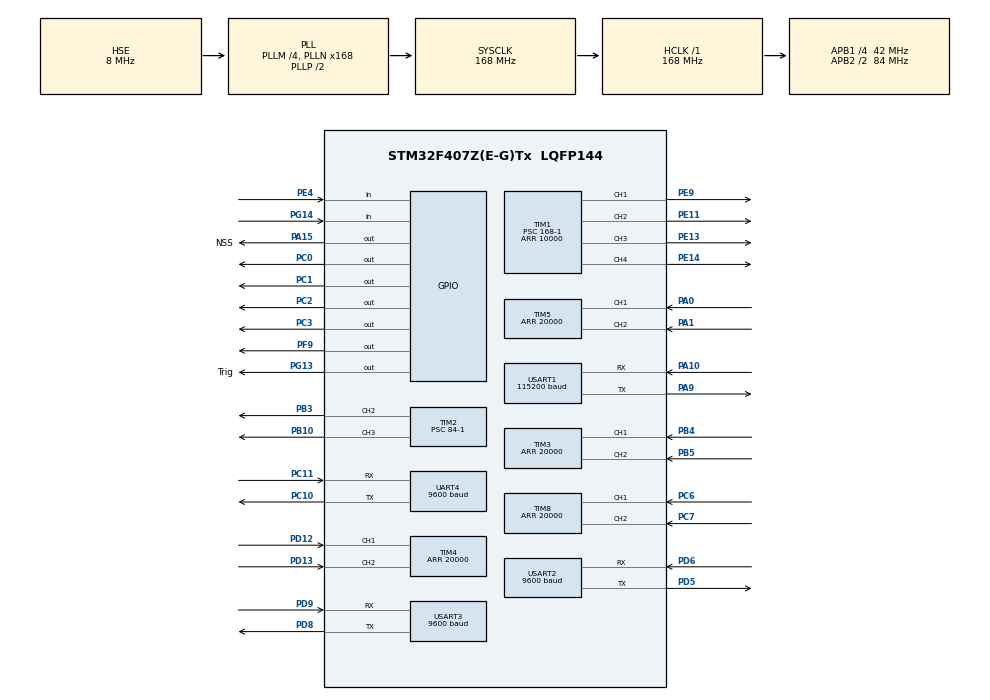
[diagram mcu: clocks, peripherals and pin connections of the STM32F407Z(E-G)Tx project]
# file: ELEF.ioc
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Dma.Request0=USART1_TX
Dma.USART1_TX.0.Direction=DMA_MEMORY_TO_PERIPH
Dma.USART1_TX.0.FIFOMode=DMA_FIFOMODE_DISABLE
Dma.USART1_TX.0.Instance=DMA2_Stream7
Dma.USART1_TX.0.MemDataAlignment=DMA_MDATAALIGN_BYTE
Dma.USART1_TX.0.MemInc=DMA_MINC_ENABLE
Dma.USART1_TX.0.Mode=DMA_NORMAL
Dma.USART1_TX.0.PeriphDataAlignment=DMA_PDATAALIGN_BYTE
Dma.USART1_TX.0.PeriphInc=DMA_PINC_DISABLE
Dma.USART1_TX.0.Priority=DMA_PRIORITY_LOW
FREERTOS.Tasks01=defaultTask,0,128,StartDefaultTask,Default,NULL,Dynamic,NULL,NULL;ServoTask,0,128,ServoCallback,As weak,NULL,Dynamic,NULL,NULL;BlueteethTask,0,128,BlueteethCallback,As weak,NULL,Dynamic,NULL,NULL;ChangSlowTask,0,128,ChangSlowCallback,As weak,NULL,Dynamic,NULL,NULL;IMUTask,0,128,IMUCallBack,As weak,NULL,Dynamic,NULL,NULL;OledTask,0,128,OledCallback,As weak,NULL,Dynamic,NULL,NULL;MotorTask,0,128,MotorCallback,As weak,NULL,Dynamic,NULL,NULL;ChassisTask,0,128,ChassisCallback,As weak,NULL,Dynamic,NULL,NULL;JY901Task,0,128,JY901Callback,As weak,NULL,Dynamic,NULL,NULL;DistanceTask,0,128,DistanceCallback,As weak,NULL,Dynamic,NULL,NULL;FinfLineTask,0,128,FinfLineCallback,As weak,NULL,Dynamic,NULL,NULL
Mcu.Family=STM32F4
Mcu.Name=STM32F407Z(E-G)Tx
Mcu.Package=LQFP144
NVIC.DMA2_Stream7_IRQn=true\:5\:0\:false\:false\:true\:true\:false\:true\:true
NVIC.PriorityGroup=NVIC_PRIORITYGROUP_4
NVIC.TIM1_TRG_COM_TIM11_IRQn=true\:5\:0\:false\:false\:true\:true\:true\:true\:true
NVIC.TIM3_IRQn=true\:5\:0\:false\:false\:true\:true\:true\:true\:true
NVIC.TIM4_IRQn=true\:5\:0\:false\:false\:true\:true\:true\:true\:true
NVIC.TIM5_IRQn=true\:5\:0\:false\:false\:true\:true\:true\:true\:true
NVIC.TIM7_IRQn=true\:15\:0\:false\:false\:true\:false\:false\:true\:true
NVIC.TIM8_BRK_TIM12_IRQn=true\:5\:0\:false\:false\:true\:true\:true\:true\:true
NVIC.TimeBase=TIM7_IRQn
NVIC.TimeBaseIP=TIM7
NVIC.UART4_IRQn=true\:5\:0\:false\:false\:true\:true\:true\:true\:true
NVIC.USART1_IRQn=true\:5\:0\:false\:false\:true\:true\:true\:true\:true
NVIC.USART2_IRQn=true\:5\:0\:false\:false\:true\:true\:true\:true\:true
NVIC.USART3_IRQn=true\:5\:0\:false\:false\:true\:true\:true\:true\:true
PA0-WKUP.Signal=S_TIM5_CH1
PA1.Signal=S_TIM5_CH2
PA10.Mode=Asynchronous
PA10.Signal=USART1_RX
PA13.Mode=Serial_Wire
PA13.Signal=SYS_JTMS-SWDIO
PA14.Mode=Serial_Wire
PA14.Signal=SYS_JTCK-SWCLK
PA15.GPIO_Label=NSS
PA15.Signal=GPIO_Output
PA9.Mode=Asynchronous
PA9.Signal=USART1_TX
PB10.Signal=S_TIM2_CH3
PB3.Signal=S_TIM2_CH2
PB4.Signal=S_TIM3_CH1
PB5.Signal=S_TIM3_CH2
PC0.Signal=GPIO_Output
PC1.Signal=GPIO_Output
PC10.Mode=Asynchronous
PC10.Signal=UART4_TX
PC11.Mode=Asynchronous
PC11.Signal=UART4_RX
PC2.Signal=GPIO_Output
PC3.Signal=GPIO_Output
PC6.Signal=S_TIM8_CH1
PC7.Signal=S_TIM8_CH2
PD12.Signal=S_TIM4_CH1
PD13.Signal=S_TIM4_CH2
PD5.Mode=Asynchronous
PD5.Signal=USART2_TX
PD6.Mode=Asynchronous
PD6.Signal=USART2_RX
PD8.Mode=Asynchronous
PD8.Signal=USART3_TX
PD9.Mode=Asynchronous
PD9.Signal=USART3_RX
PE11.Signal=S_TIM1_CH2
PE13.Signal=S_TIM1_CH3
PE14.Signal=S_TIM1_CH4
PE4.Signal=GPIO_Input
PE9.Signal=S_TIM1_CH1
PF9.Signal=GPIO_Output
PG13.GPIO_Label=Trig
PG13.GPIO_PuPd=GPIO_PULLUP
PG13.GPIO_Speed=GPIO_SPEED_FREQ_HIGH
PG13.Signal=GPIO_Output
PG14.GPIO_PuPd=GPIO_PULLUP
PG14.Signal=GPIO_Input
PH0-OSC_IN.Mode=HSE-External-Oscillator
PH0-OSC_IN.Signal=RCC_OSC_IN
PH1-OSC_OUT.Mode=HSE-External-Oscillator
PH1-OSC_OUT.Signal=RCC_OSC_OUT
ProjectManager.HeapSize=0x200
ProjectManager.StackSize=0x400
ProjectManager.TargetToolchain=MDK-ARM V5.32
RCC.48MHZClocksFreq_Value=84000000
RCC.AHBFreq_Value=168000000
RCC.APB1CLKDivider=RCC_HCLK_DIV4
RCC.APB1Freq_Value=42000000
RCC.APB1TimFreq_Value=84000000
RCC.APB2CLKDivider=RCC_HCLK_DIV2
RCC.APB2Freq_Value=84000000
RCC.APB2TimFreq_Value=168000000
RCC.CortexFreq_Value=168000000
RCC.HCLKFreq_Value=168000000
RCC.HSE_VALUE=8000000
RCC.HSI_VALUE=16000000
RCC.LSE_VALUE=32768
RCC.PLLM=4
RCC.PLLN=168
RCC.PLLSourceVirtual=RCC_PLLSOURCE_HSE
RCC.SYSCLKFreq_VALUE=168000000
RCC.SYSCLKSource=RCC_SYSCLKSOURCE_PLLCLK
RCC.VCOOutputFreq_Value=336000000
SH.S_TIM1_CH1.0=TIM1_CH1,PWM Generation1 CH1
SH.S_TIM1_CH2.0=TIM1_CH2,PWM Generation2 CH2
SH.S_TIM1_CH3.0=TIM1_CH3,PWM Generation3 CH3
SH.S_TIM1_CH4.0=TIM1_CH4,PWM Generation4 CH4
SH.S_TIM2_CH2.0=TIM2_CH2,PWM Generation2 CH2
SH.S_TIM2_CH3.0=TIM2_CH3,PWM Generation3 CH3
SH.S_TIM3_CH1.0=TIM3_CH1,Encoder_Interface
SH.S_TIM3_CH2.0=TIM3_CH2,Encoder_Interface
SH.S_TIM4_CH1.0=TIM4_CH1,Encoder_Interface
SH.S_TIM4_CH2.0=TIM4_CH2,Encoder_Interface
SH.S_TIM5_CH1.0=TIM5_CH1,Encoder_Interface
SH.S_TIM5_CH2.0=TIM5_CH2,Encoder_Interface
SH.S_TIM8_CH1.0=TIM8_CH1,Encoder_Interface
SH.S_TIM8_CH2.0=TIM8_CH2,Encoder_Interface
TIM1.AutoReloadPreload=TIM_AUTORELOAD_PRELOAD_ENABLE
TIM1.Channel-PWM\ Generation1\ CH1=TIM_CHANNEL_1
TIM1.Channel-PWM\ Generation2\ CH2=TIM_CHANNEL_2
TIM1.Channel-PWM\ Generation3\ CH3=TIM_CHANNEL_3
TIM1.Channel-PWM\ Generation4\ CH4=TIM_CHANNEL_4
TIM1.Period=10000
TIM1.Prescaler=168-1
TIM11.Period=10-1
TIM11.Prescaler=168-1
TIM12.Period=10000
TIM12.Prescaler=168-1
TIM2.AutoReloadPreload=TIM_AUTORELOAD_PRELOAD_ENABLE
TIM2.Channel-PWM\ Generation2\ CH2=TIM_CHANNEL_2
TIM2.Channel-PWM\ Generation3\ CH3=TIM_CHANNEL_3
TIM2.Period=20000-1
TIM2.Prescaler=84-1
TIM3.AutoReloadPreload=TIM_AUTORELOAD_PRELOAD_ENABLE
TIM3.Period=20000
TIM4.AutoReloadPreload=TIM_AUTORELOAD_PRELOAD_ENABLE
TIM4.Period=20000
TIM5.AutoReloadPreload=TIM_AUTORELOAD_PRELOAD_ENABLE
TIM5.Period=20000
TIM8.AutoReloadPreload=TIM_AUTORELOAD_PRELOAD_ENABLE
TIM8.Period=20000
UART4.BaudRate=9600
UART4.VirtualMode=Asynchronous
USART1.BaudRate=115200
USART1.VirtualMode=VM_ASYNC
USART2.BaudRate=9600
USART2.VirtualMode=VM_ASYNC
USART3.BaudRate=9600
USART3.VirtualMode=VM_ASYNC
VP_FREERTOS_VS_CMSIS_V1.Mode=CMSIS_V1
VP_SYS_VS_tim7.Mode=TIM7
VP_TIM11_VS_ClockSourceINT.Mode=Enable_Timer
VP_TIM12_VS_ClockSourceINT.Mode=Internal
VP_TIM1_VS_ClockSourceINT.Mode=Internal
VP_TIM2_VS_ClockSourceINT.Mode=Internal
board=custom

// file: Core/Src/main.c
/* USER CODE BEGIN Header */
/**
  ******************************************************************************
  * @file           : main.c
  * @brief          : Main program body
  ******************************************************************************
  * @attention
  *
  * Copyright (c) 2023 STMicroelectronics.
  * All rights reserved.
  *
  * This software is licensed under terms that can be found in the LICENSE file
  * in the root directory of this software component.
  * If no LICENSE file comes with this software, it is provided AS-IS.
  *
  ******************************************************************************
  */
/* USER CODE END Header */
#include "main.h"
#include "cmsis_os.h"
#include "dma.h"
#include "tim.h"
#include "usart.h"
#include "gpio.h"

/* USER CODE BEGIN Includes */
#include "servo.h"
#include "motor.h"
#include "oled.h"
//#include "bsp_imu.h"
/* USER CODE END Includes */

/* USER CODE BEGIN PV */
uint8_t USART1_RXbuff[1];
int Vision_Rxbuff[4];
uint8_t Vision_buff[1];
int yaw1=0;
int mpu_count=0;
/* USER CODE END PV */

void SystemClock_Config(void);
void MX_FREERTOS_Init(void);
/* USER CODE BEGIN PFP */

void MV_Uart2_IRQHandler()
{
  static unsigned char ucRxCnt = 0;
	Vision_Rxbuff[ucRxCnt++]=Vision_buff[0];	//将收到的数据存入缓冲区中
	if (Vision_Rxbuff[0]!=0xFF) //数据头不对，则重新开始寻找0xAA数据头
	{
		ucRxCnt=0;
		Enable=0;
		return;
	}
	if (ucRxCnt<4) {return;}//数据不满4个，则返回
	else if(Vision_Rxbuff[ucRxCnt-1]==0xEE)
	{
		Servo.RecX=Vision_Rxbuff[1];
		Servo.RecY=Vision_Rxbuff[2];
		Enable=1;
		ucRxCnt=0;//清空缓存区
	}
	else
	{
		ucRxCnt=0;//清空缓存区
	}
}

void ChangeAngle(float EndX,float EndY)
{
	if(EndX!=Servo.RecX)
	{
	if(EndX>Servo.TargetX)
		Servo.TargetX+=1;
	else if(EndX<Servo.TargetX)
		Servo.TargetX-=1;
	}
	if(EndY!=Servo.RecY)
	{
	if(EndY>Servo.TargetY)
		Servo.TargetY+=1;
	else if(EndY<Servo.TargetY)
		Servo.TargetY-=1;
	}
}

void HAL_UART_RxCpltCallback(UART_HandleTypeDef *huart)
{
	if(huart==&huart4)
	{
		JY901_UART();
		HAL_UART_Receive_IT(&huart4,buff_JY,1);
	}

	if(huart==&huart1)
	{
		if(USART1_RXbuff[0]=='F'&& Enable==1) //1
		{
			Enable=1;
			draw_round=1;
		}
		else if(USART1_RXbuff[0]=='G'&& Enable==1)//9
		{
			Servo.TargetX+=25;
		}
		else if(USART1_RXbuff[0]=='K'&& Enable==1)//9
		{
			Servo.TargetX-=25;

		}
		else if(USART1_RXbuff[0]=='H'&& Enable==1)//9
		{
			Servo.TargetY+=30;
		}
		else if(USART1_RXbuff[0]=='J'&& Enable==1)//9
		{
			Servo.TargetY-=30;
		}
		else if(USART1_RXbuff[0]=='I')
		{
			draw_round=0;
			Enable=0;
			Servo.angle1=Servo.media1;
			Servo.angle2=Servo.media2;
		}
		LIMIT(Servo.TargetX,32,85);
		LIMIT(Servo.TargetY,48,105);

		HAL_UART_Receive_IT(&huart1,USART1_RXbuff,1);

	}

	if(huart==&huart2)
	{
		MV_Uart2_IRQHandler();
		HAL_UART_Receive_IT(&huart2,Vision_buff,1);
	}
}
//缓慢改变舵机角度目标值
void ChangSlowCallback(void const * argument)
{
  /* USER CODE BEGIN ChangSlowCallback */
  /* Infinite loop */
  for(;;)
  {
		if(USART1_RXbuff[0]=='A') //1
		{
			motorStat=1;
		}
		else if(USART1_RXbuff[0]=='a')
		{
			motorStat=0;
		}
		else if(USART1_RXbuff[0]=='B')//2
		{
			motorStat=2;
		}
		else if(USART1_RXbuff[0]=='C')//3
		{
			motorStat=3;
		}
		else if(USART1_RXbuff[0]=='D')//4
		{
			motorStat=4;
		}
		else if(USART1_RXbuff[0]=='E')//5
		{
			motorStat=5;
		}
		else if(USART1_RXbuff[0]=='F')
		{
			motorStat=6;
		}
		else if(USART1_RXbuff[0]=='g')
		{
			motorStat=0;
		}
		else if(USART1_RXbuff[0]=='K')
		{
			motorStat=2;
		}
		else if(USART1_RXbuff[0]=='k')
		{
			motorStat=0;
		}

    osDelay(100);
  }
  /* USER CODE END ChangSlowCallback */
}
/* USER CODE END PFP */

int main(void)
{

  /* MCU Configuration--------------------------------------------------------*/

  /* Reset of all peripherals, Initializes the Flash interface and the Systick. */
  HAL_Init();

  /* Configure the system clock */
  SystemClock_Config();

  /* Initialize all configured peripherals */
  MX_GPIO_Init();
  MX_DMA_Init();
  MX_TIM2_Init();
  MX_USART1_UART_Init();
  MX_USART2_UART_Init();
  MX_USART3_UART_Init();
  MX_TIM1_Init();
  MX_TIM3_Init();
  MX_TIM4_Init();
  MX_TIM12_Init();
  MX_TIM5_Init();
  MX_TIM8_Init();
  MX_TIM11_Init();
  MX_UART4_Init();
  /* USER CODE BEGIN 2 */

	HAL_UART_Receive_IT(&huart1,USART1_RXbuff,1);//蓝牙
	HAL_UART_Receive_IT(&huart2,Vision_buff,1);//视觉
  /* USER CODE END 2 */

  /* Call init function for freertos objects (in freertos.c) */
  MX_FREERTOS_Init();

  /* Start scheduler */
  osKernelStart();

  /* We should never get here as control is now taken by the scheduler */
  /* Infinite loop */
  while (1)
  {

  }
}

void SystemClock_Config(void)
{
  RCC_OscInitTypeDef RCC_OscInitStruct = {0};
  RCC_ClkInitTypeDef RCC_ClkInitStruct = {0};

  /** Configure the main internal regulator output voltage
  */
  __HAL_RCC_PWR_CLK_ENABLE();
  __HAL_PWR_VOLTAGESCALING_CONFIG(PWR_REGULATOR_VOLTAGE_SCALE1);

  /** Initializes the RCC Oscillators according to the specified parameters
  * in the RCC_OscInitTypeDef structure.
  */
  RCC_OscInitStruct.OscillatorType = RCC_OSCILLATORTYPE_HSE;
  RCC_OscInitStruct.HSEState = RCC_HSE_ON;
  RCC_OscInitStruct.PLL.PLLState = RCC_PLL_ON;
  RCC_OscInitStruct.PLL.PLLSource = RCC_PLLSOURCE_HSE;
  RCC_OscInitStruct.PLL.PLLM = 4;
  RCC_OscInitStruct.PLL.PLLN = 168;
  RCC_OscInitStruct.PLL.PLLP = RCC_PLLP_DIV2;
  RCC_OscInitStruct.PLL.PLLQ = 4;
  if (HAL_RCC_OscConfig(&RCC_OscInitStruct) != HAL_OK)
  {
    Error_Handler();
  }

  /** Initializes the CPU, AHB and APB buses clocks
  */
  RCC_ClkInitStruct.ClockType = RCC_CLOCKTYPE_HCLK|RCC_CLOCKTYPE_SYSCLK
                              |RCC_CLOCKTYPE_PCLK1|RCC_CLOCKTYPE_PCLK2;
  RCC_ClkInitStruct.SYSCLKSource = RCC_SYSCLKSOURCE_PLLCLK;
  RCC_ClkInitStruct.AHBCLKDivider = RCC_SYSCLK_DIV1;
  RCC_ClkInitStruct.APB1CLKDivider = RCC_HCLK_DIV4;
  RCC_ClkInitStruct.APB2CLKDivider = RCC_HCLK_DIV2;

  if (HAL_RCC_ClockConfig(&RCC_ClkInitStruct, FLASH_LATENCY_5) != HAL_OK)
  {
    Error_Handler();
  }
}

void HAL_TIM_PeriodElapsedCallback(TIM_HandleTypeDef *htim)
{
  if (htim->Instance == TIM7) {
    HAL_IncTick();
  }
  /* USER CODE BEGIN Callback 1 */
	else if(htim->Instance == htim3.Instance)
	{
		if(COUNTERNUM1 < 10000)
			motor[0].loopNum++;         //向上计数超过10000，正溢出+1
		else if(COUNTERNUM1 > 10000)
			motor[0].loopNum--;     //向下计数小于0，负溢出+1
		__HAL_TIM_SetCounter(&htim3, 10000);             //重新设定初始值
	}
	else if(htim->Instance == htim4.Instance)
	{
		if(COUNTERNUM2  < 10000)
			motor[1].loopNum++;
		else if(COUNTERNUM2 >10000)
			motor[1].loopNum--;     //向下计数小于0，负溢出+1
		__HAL_TIM_SetCounter(&htim4, 10000);
	}
	else if(htim->Instance == htim5.Instance)
	{
		if(COUNTERNUM3  <10000)
			motor[2].loopNum++;
		else if(COUNTERNUM3 > 10000)
			motor[2].loopNum--;     //向下计数小于0，负溢出+1
		__HAL_TIM_SetCounter(&htim5, 10000);
	}
	else if(htim->Instance == htim8.Instance)
	{
		if(COUNTERNUM4  <10000)
			motor[3].loopNum++;
		else if(COUNTERNUM4 > 10000)
			motor[3].loopNum--;     //向下计数小于0，负溢出+1
		__HAL_TIM_SetCounter(&htim8, 10000);
	}
	else if(htim->Instance==htim12.Instance)		              //10ms中断   优先级置高？
	{
		int16_t pluse1 = COUNTERNUM1 - RELOADVALUE1/2;
        //从开始到现在当前10ms的总脉冲数
		motor[0].totalAngle = pluse1 + motor[0].loopNum * RELOADVALUE1/2;
        //进行速度计算,4倍频,编码器13位,减速45,再乘以6000即为每分钟输出轴多少转
        //motor.totalAngle - motor.lastAngle为当前10ms内的增量，即脉冲数
		motor[0].speed = (float)(motor[0].totalAngle - motor[0].lastAngle)/(4*11*RR)*6000;
		motor[0].lastAngle = motor[0].totalAngle;              //更新转过的圈数

		int16_t pluse2 = COUNTERNUM2 - RELOADVALUE2/2;
		motor[1].totalAngle = pluse2 + motor[1].loopNum * RELOADVALUE2/2;
		motor[1].speed = (float)(motor[1].totalAngle - motor[1].lastAngle)/(4*11*RR)*6000;
		motor[1].lastAngle = motor[1].totalAngle;

		int16_t pluse3 = COUNTERNUM3 - RELOADVALUE3/2;
		motor[2].totalAngle = pluse3 + motor[2].loopNum * RELOADVALUE3/2;
		motor[2].speed = (float)(motor[2].totalAngle - motor[2].lastAngle)/(4*11*RR)*6000;
		motor[2].lastAngle = motor[2].totalAngle;

		int16_t pluse4 = COUNTERNUM4 - RELOADVALUE4/2;
		motor[3].totalAngle = pluse4 + motor[3].loopNum * RELOADVALUE4/2;
		motor[3].speed = (float)(motor[3].totalAngle - motor[3].lastAngle)/(4*11*RR)*6000;
		motor[3].lastAngle = motor[3].totalAngle;

	}
  /* USER CODE END Callback 1 */
}

void Error_Handler(void)
{
  __disable_irq();
  while (1)
  {
  }
}

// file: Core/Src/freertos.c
/* USER CODE BEGIN Header */
/**
  ******************************************************************************
  * File Name          : freertos.c
  * Description        : Code for freertos applications
  ******************************************************************************
  * @attention
  *
  * Copyright (c) 2023 STMicroelectronics.
  * All rights reserved.
  *
  * This software is licensed under terms that can be found in the LICENSE file
  * in the root directory of this software component.
  * If no LICENSE file comes with this software, it is provided AS-IS.
  *
  ******************************************************************************
  */
/* USER CODE END Header */

#include "FreeRTOS.h"
#include "task.h"
#include "main.h"
#include "cmsis_os.h"

osThreadId defaultTaskHandle;
osThreadId ServoTaskHandle;
osThreadId BlueteethTaskHandle;
osThreadId ChangSlowTaskHandle;
osThreadId IMUTaskHandle;
osThreadId OledTaskHandle;
osThreadId MotorTaskHandle;
osThreadId ChassisTaskHandle;
osThreadId JY901TaskHandle;
osThreadId DistanceTaskHandle;
osThreadId FinfLineTaskHandle;

void StartDefaultTask(void const * argument);
void ServoCallback(void const * argument);
void BlueteethCallback(void const * argument);
void ChangSlowCallback(void const * argument);
void IMUCallBack(void const * argument);
void OledCallback(void const * argument);
void MotorCallback(void const * argument);
void ChassisCallback(void const * argument);
void JY901Callback(void const * argument);
void DistanceCallback(void const * argument);
void FinfLineCallback(void const * argument);

void MX_FREERTOS_Init(void); /* (MISRA C 2004 rule 8.1) */

/* GetIdleTaskMemory prototype (linked to static allocation support) */
void vApplicationGetIdleTaskMemory( StaticTask_t **ppxIdleTaskTCBBuffer, StackType_t **ppxIdleTaskStackBuffer, uint32_t *pulIdleTaskStackSize );

/* USER CODE BEGIN GET_IDLE_TASK_MEMORY */
static StaticTask_t xIdleTaskTCBBuffer;
static StackType_t xIdleStack[configMINIMAL_STACK_SIZE];

void vApplicationGetIdleTaskMemory( StaticTask_t **ppxIdleTaskTCBBuffer, StackType_t **ppxIdleTaskStackBuffer, uint32_t *pulIdleTaskStackSize )
{
  *ppxIdleTaskTCBBuffer = &xIdleTaskTCBBuffer;
  *ppxIdleTaskStackBuffer = &xIdleStack[0];
  *pulIdleTaskStackSize = configMINIMAL_STACK_SIZE;
  /* place for user code */
}
/* USER CODE END GET_IDLE_TASK_MEMORY */

void MX_FREERTOS_Init(void) {

  /* Create the thread(s) */
  /* definition and creation of defaultTask */
  osThreadDef(defaultTask, StartDefaultTask, osPriorityNormal, 0, 128);
  defaultTaskHandle = osThreadCreate(osThread(defaultTask), NULL);

  /* definition and creation of ServoTask */
  osThreadDef(ServoTask, ServoCallback, osPriorityNormal, 0, 128);
  ServoTaskHandle = osThreadCreate(osThread(ServoTask), NULL);

  /* definition and creation of BlueteethTask */
  osThreadDef(BlueteethTask, BlueteethCallback, osPriorityNormal, 0, 128);
  BlueteethTaskHandle = osThreadCreate(osThread(BlueteethTask), NULL);

  /* definition and creation of ChangSlowTask */
  osThreadDef(ChangSlowTask, ChangSlowCallback, osPriorityNormal, 0, 128);
  ChangSlowTaskHandle = osThreadCreate(osThread(ChangSlowTask), NULL);

  /* definition and creation of IMUTask */
  osThreadDef(IMUTask, IMUCallBack, osPriorityNormal, 0, 128);
  IMUTaskHandle = osThreadCreate(osThread(IMUTask), NULL);

  /* definition and creation of OledTask */
  osThreadDef(OledTask, OledCallback, osPriorityNormal, 0, 128);
  OledTaskHandle = osThreadCreate(osThread(OledTask), NULL);

  /* definition and creation of MotorTask */
  osThreadDef(MotorTask, MotorCallback, osPriorityNormal, 0, 128);
  MotorTaskHandle = osThreadCreate(osThread(MotorTask), NULL);

  /* definition and creation of ChassisTask */
  osThreadDef(ChassisTask, ChassisCallback, osPriorityNormal, 0, 128);
  ChassisTaskHandle = osThreadCreate(osThread(ChassisTask), NULL);

  /* definition and creation of JY901Task */
  osThreadDef(JY901Task, JY901Callback, osPriorityNormal, 0, 128);
  JY901TaskHandle = osThreadCreate(osThread(JY901Task), NULL);

  /* definition and creation of DistanceTask */
  osThreadDef(DistanceTask, DistanceCallback, osPriorityNormal, 0, 128);
  DistanceTaskHandle = osThreadCreate(osThread(DistanceTask), NULL);

  /* definition and creation of FinfLineTask */
  osThreadDef(FinfLineTask, FinfLineCallback, osPriorityNormal, 0, 128);
  FinfLineTaskHandle = osThreadCreate(osThread(FinfLineTask), NULL);

}

void StartDefaultTask(void const * argument)
{
  for(;;)
  {
    osDelay(1);
  }
}

__weak void ServoCallback(void const * argument)
{
  for(;;)
  {
    osDelay(1);
  }
}

__weak void BlueteethCallback(void const * argument)
{
  for(;;)
  {
    osDelay(1);
  }
}

__weak void ChangSlowCallback(void const * argument)
{
  for(;;)
  {
    osDelay(1);
  }
}

__weak void IMUCallBack(void const * argument)
{
  for(;;)
  {
    osDelay(1);
  }
}

__weak void OledCallback(void const * argument)
{
  for(;;)
  {
    osDelay(1);
  }
}

__weak void MotorCallback(void const * argument)
{
  for(;;)
  {
    osDelay(1);
  }
}

__weak void ChassisCallback(void const * argument)
{
  for(;;)
  {
    osDelay(1);
  }
}

__weak void JY901Callback(void const * argument)
{
  for(;;)
  {
    osDelay(1);
  }
}

__weak void DistanceCallback(void const * argument)
{
  for(;;)
  {
    osDelay(1);
  }
}

__weak void FinfLineCallback(void const * argument)
{
  for(;;)
  {
    osDelay(1);
  }
}
